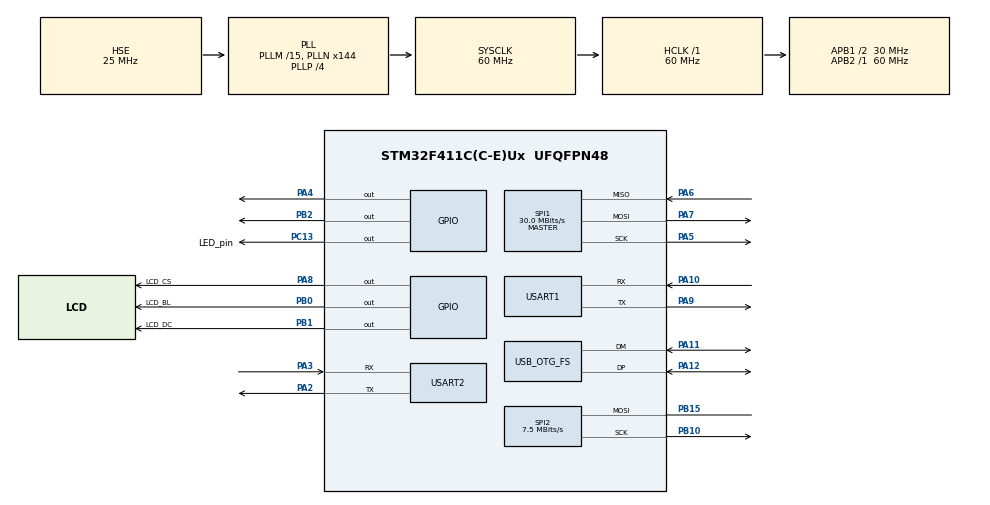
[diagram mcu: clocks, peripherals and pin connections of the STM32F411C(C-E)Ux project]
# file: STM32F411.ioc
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FATFS._CODE_PAGE=936
FATFS._FS_LOCK=1
FATFS._MAX_SS=4096
FATFS._USE_LFN=2
Mcu.Family=STM32F4
Mcu.Name=STM32F411C(C-E)Ux
Mcu.Package=UFQFPN48
NVIC.OTG_FS_IRQn=true\:2\:0\:true\:false\:true\:false\:true\:true
NVIC.PriorityGroup=NVIC_PRIORITYGROUP_4
NVIC.TIM5_IRQn=true\:0\:0\:true\:false\:true\:true\:true\:true
NVIC.USART2_IRQn=true\:0\:0\:false\:false\:true\:true\:true\:true
PA10.Mode=Asynchronous
PA10.Signal=USART1_RX
PA11.Mode=Device_Only
PA11.Signal=USB_OTG_FS_DM
PA12.Mode=Device_Only
PA12.Signal=USB_OTG_FS_DP
PA13.Mode=Serial_Wire
PA13.Signal=SYS_JTMS-SWDIO
PA14.Mode=Serial_Wire
PA14.Signal=SYS_JTCK-SWCLK
PA2.Mode=Asynchronous
PA2.Signal=USART2_TX
PA3.Mode=Asynchronous
PA3.Signal=USART2_RX
PA4.GPIO_Speed=GPIO_SPEED_FREQ_VERY_HIGH
PA4.Signal=GPIO_Output
PA5.Mode=Full_Duplex_Master
PA5.Signal=SPI1_SCK
PA6.Mode=Full_Duplex_Master
PA6.Signal=SPI1_MISO
PA7.Mode=Full_Duplex_Master
PA7.Signal=SPI1_MOSI
PA8.GPIO_Label=LCD_CS
PA8.GPIO_ModeDefaultOutputPP=GPIO_MODE_OUTPUT_PP
PA8.GPIO_PuPd=GPIO_NOPULL
PA8.Signal=GPIO_Output
PA9.Mode=Asynchronous
PA9.Signal=USART1_TX
PB0.GPIO_Label=LCD_BL
PB0.GPIO_ModeDefaultOutputPP=GPIO_MODE_OUTPUT_PP
PB0.GPIO_PuPd=GPIO_NOPULL
PB0.Signal=GPIO_Output
PB1.GPIO_Label=LCD_DC
PB1.GPIO_ModeDefaultOutputPP=GPIO_MODE_OUTPUT_PP
PB1.GPIO_PuPd=GPIO_NOPULL
PB1.Signal=GPIO_Output
PB10.Mode=Simplex_Bidirectional_Master
PB10.Signal=SPI2_SCK
PB15.Mode=Simplex_Bidirectional_Master
PB15.Signal=SPI2_MOSI
PB2.Signal=GPIO_Output
PC13-ANTI_TAMP.GPIO_Label=LED_pin
PC13-ANTI_TAMP.GPIO_ModeDefaultOutputPP=GPIO_MODE_OUTPUT_OD
PC13-ANTI_TAMP.GPIO_PuPd=GPIO_NOPULL
PC13-ANTI_TAMP.PinState=GPIO_PIN_RESET
PC13-ANTI_TAMP.Signal=GPIO_Output
PH0\ -\ OSC_IN.Mode=HSE-External-Oscillator
PH0\ -\ OSC_IN.Signal=RCC_OSC_IN
PH1\ -\ OSC_OUT.Mode=HSE-External-Oscillator
PH1\ -\ OSC_OUT.Signal=RCC_OSC_OUT
ProjectManager.HeapSize=0x1000
ProjectManager.StackSize=0x800
ProjectManager.TargetToolchain=MDK-ARM V5.32
RCC.48MHZClocksFreq_Value=48000000
RCC.AHBFreq_Value=60000000
RCC.APB1CLKDivider=RCC_HCLK_DIV2
RCC.APB1Freq_Value=30000000
RCC.APB1TimFreq_Value=60000000
RCC.APB2Freq_Value=60000000
RCC.APB2TimFreq_Value=60000000
RCC.CortexFreq_Value=60000000
RCC.HCLKFreq_Value=60000000
RCC.HSE_VALUE=25000000
RCC.HSI_VALUE=16000000
RCC.LSE_VALUE=32768
RCC.PLLM=15
RCC.PLLN=144
RCC.PLLP=RCC_PLLP_DIV4
RCC.PLLQ=5
RCC.SYSCLKFreq_VALUE=60000000
RCC.SYSCLKSource=RCC_SYSCLKSOURCE_PLLCLK
RCC.VCOOutputFreq_Value=240000000
SPI1.BaudRatePrescaler=SPI_BAUDRATEPRESCALER_2
SPI1.CalculateBaudRate=30.0 MBits/s
SPI1.Direction=SPI_DIRECTION_2LINES
SPI1.Mode=SPI_MODE_MASTER
SPI1.VirtualType=VM_MASTER
SPI2.BaudRatePrescaler=SPI_BAUDRATEPRESCALER_4
SPI2.CLKPhase=SPI_PHASE_1EDGE
SPI2.CLKPolarity=SPI_POLARITY_LOW
SPI2.CalculateBaudRate=7.5 MBits/s
SPI2.Direction=SPI_DIRECTION_1LINE
SPI2.Mode=SPI_MODE_MASTER
SPI2.VirtualType=VM_MASTER
TIM5.AutoReloadPreload=TIM_AUTORELOAD_PRELOAD_ENABLE
TIM5.Period=100
TIM5.Prescaler=600
TIM5.TIM_MasterOutputTrigger=TIM_TRGO_UPDATE
USART1.OverSampling=UART_OVERSAMPLING_8
USART1.VirtualMode=VM_ASYNC
USART2.VirtualMode=VM_ASYNC
USB_DEVICE.CLASS_NAME_FS=MSC
USB_DEVICE.MSC_MEDIA_PACKET=4096
USB_DEVICE.VirtualMode=Msc
USB_DEVICE.VirtualModeFS=Msc_FS
USB_OTG_FS.VirtualMode=Device_Only
VP_FATFS_VS_Generic.Mode=User_defined
VP_TIM5_VS_ClockSourceINT.Mode=Internal
VP_USB_DEVICE_VS_USB_DEVICE_MSC_FS.Mode=MSC_FS
board=custom

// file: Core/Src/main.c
/* USER CODE BEGIN Header */
/**
  ******************************************************************************
  * @file           : main.c
  * @brief          : Main program body
  ******************************************************************************
  * @attention
  *
  * Copyright (c) 2023 STMicroelectronics.
  * All rights reserved.
  *
  * This software is licensed under terms that can be found in the LICENSE file
  * in the root directory of this software component.
  * If no LICENSE file comes with this software, it is provided AS-IS.
  *
  ******************************************************************************
  */
/* USER CODE END Header */
#include "main.h"
#include "fatfs.h"
#include "spi.h"
#include "tim.h"
#include "usart.h"
#include "usb_device.h"
#include "gpio.h"

/* USER CODE BEGIN Includes */
#include <string.h>
#include <stdio.h>
#include <stdarg.h>

#include "MODEL.h"
#include "SYSTEM.h"
#include "APP.h"

#include "lvgl.h"
#include "lv_port_disp.h"
#include "lv_examples.h"
/* USER CODE END Includes */

void SystemClock_Config(void);

/* USER CODE BEGIN 0 */
char *test_str;
char *test_add;
/* USER CODE END 0 */

int main(void)
{
  /* USER CODE BEGIN 1 */
  char flag;
  char *test_json = "{\"status\":\"1\",\"regeocode\":{\"addressComponent\":{\"city\":[],\"province\":\"北京市\",\"adcode\":\"110108\",\"district\":\"海淀区\",\"towncode\":\"110108015000\",\"streetNumber\":{\"number\":\"5号\",\"location\":\"116.310454,39.992734\",\"direction\":\"东北\",\"distance\":\"94.5489\",\"street\":\"颐和园路\"},\"country\":\"中国\",\"township\":\"燕园街道\",\"businessAreas\":[{\"location\":\"116.303364,39.976410\",\"name\":\"万泉河\",\"id\":\"110108\"},{\"location\":\"116.314222,39.982490\",\"name\":\"中关村\",\"id\":\"110108\"},{\"location\":\"116.294214,39.996850\",\"name\":\"西苑\",\"id\":\"110108\"}],\"building\":{\"name\":\"北京大学\",\"type\":\"科教文化服务;学校;高等院校\"},\"neighborhood\":{\"name\":\"北京大学\",\"type\":\"科教文化服务;学校;高等院校\"},\"citycode\":\"010\"},\"formatted_address\":\"北京市海淀区燕园街道北京大学\"},\"info\":\"OK\",\"infocode\":\"10000\"}";
   /* USER CODE END 1 */

  /* MCU Configuration--------------------------------------------------------*/

  /* Reset of all peripherals, Initializes the Flash interface and the Systick. */
  HAL_Init();

  /* Configure the system clock */
  SystemClock_Config();

  /* Initialize all configured peripherals */
  MX_GPIO_Init();
  MX_USART1_UART_Init();
  MX_USART2_UART_Init();
  MX_SPI2_Init();
  MX_SPI1_Init();
  MX_TIM5_Init();
  MX_FATFS_Init();
  MX_USB_DEVICE_Init();
  /* USER CODE BEGIN 2 */

  DEBUG_UART_Send_MSG("<-----------开始调试--------->\n\r");

  //开启TIM5的事件更新中断，用于给LVGL提供心跳以及处理lv_task
  __HAL_TIM_CLEAR_IT(&htim5,TIM_IT_UPDATE ); //清除IT标志位
  HAL_TIM_Base_Start_IT(&htim5);

  //开启串口2中断，用于接收GA8的返回数据
  __HAL_UART_ENABLE_IT(&huart2, UART_IT_RXNE);
  HAL_UART_Receive_IT(GA8_USART, (uint8_t *)&RE_temp, 1);

  //SPI Flash初始化
  W25Qx_Init();

//  flag = GA8_Test();
//  Usart1Printf("flag1:%x\r\n", flag);
//  GA8_PDP_Connect();

//  flag = GA8_TCP_Connect("\"restapi.amap.com\",80");
//  Usart1Printf("flag2:%x\r\n", flag);
//  Usart1Printf("%s", GA8_BUFFER);

//  flag = GA8_TCP_Send_Msg("GET https://restapi.amap.com/v3/geocode/regeo?output=json&location=116.310003,39.991957&key=257da8c8a2c0ebd13452f6c60718029f&radius=1000&extensions=base\r\n");
//  Usart1Printf("flag3:%x\r\n", flag);
//  Usart1Printf("%s", GA8_BUFFER);

//  test_str = Find_JSON_From_Buffer(GA8_BUFFER);

//  test_add = Gett_Address_cJSON(test_str);
//  Usart1Printf("test_add:%s\r\n", test_add);

//   //LVGL初始化
//   lv_init();
//   //LVGL显示设备初始化
//   lv_port_disp_init();

  DEBUG_UART_Send_MSG("<-----------调试结束--------->\n\r");
  /* USER CODE END 2 */

  /* Infinite loop */
  /* USER CODE BEGIN WHILE */
  while (1)
  {
     HAL_GPIO_TogglePin(LED_pin_GPIO_Port, LED_pin_Pin);

     HAL_Delay(500);

    /* USER CODE END WHILE */

  }
}

void SystemClock_Config(void)
{
  RCC_OscInitTypeDef RCC_OscInitStruct = {0};
  RCC_ClkInitTypeDef RCC_ClkInitStruct = {0};

  /** Configure the main internal regulator output voltage
  */
  __HAL_RCC_PWR_CLK_ENABLE();
  __HAL_PWR_VOLTAGESCALING_CONFIG(PWR_REGULATOR_VOLTAGE_SCALE1);

  /** Initializes the RCC Oscillators according to the specified parameters
  * in the RCC_OscInitTypeDef structure.
  */
  RCC_OscInitStruct.OscillatorType = RCC_OSCILLATORTYPE_HSE;
  RCC_OscInitStruct.HSEState = RCC_HSE_ON;
  RCC_OscInitStruct.PLL.PLLState = RCC_PLL_ON;
  RCC_OscInitStruct.PLL.PLLSource = RCC_PLLSOURCE_HSE;
  RCC_OscInitStruct.PLL.PLLM = 15;
  RCC_OscInitStruct.PLL.PLLN = 144;
  RCC_OscInitStruct.PLL.PLLP = RCC_PLLP_DIV4;
  RCC_OscInitStruct.PLL.PLLQ = 5;
  if (HAL_RCC_OscConfig(&RCC_OscInitStruct) != HAL_OK)
  {
    Error_Handler();
  }

  /** Initializes the CPU, AHB and APB buses clocks
  */
  RCC_ClkInitStruct.ClockType = RCC_CLOCKTYPE_HCLK|RCC_CLOCKTYPE_SYSCLK
                              |RCC_CLOCKTYPE_PCLK1|RCC_CLOCKTYPE_PCLK2;
  RCC_ClkInitStruct.SYSCLKSource = RCC_SYSCLKSOURCE_PLLCLK;
  RCC_ClkInitStruct.AHBCLKDivider = RCC_SYSCLK_DIV1;
  RCC_ClkInitStruct.APB1CLKDivider = RCC_HCLK_DIV2;
  RCC_ClkInitStruct.APB2CLKDivider = RCC_HCLK_DIV1;

  if (HAL_RCC_ClockConfig(&RCC_ClkInitStruct, FLASH_LATENCY_1) != HAL_OK)
  {
    Error_Handler();
  }
}

void Error_Handler(void)
{
  __disable_irq();
  while (1)
  {
  }
}
